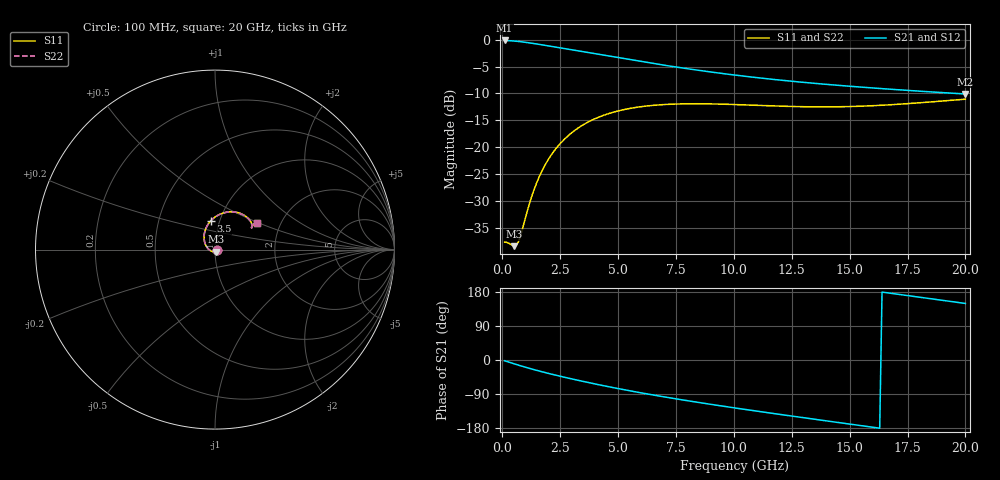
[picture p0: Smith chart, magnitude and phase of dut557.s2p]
! Touchstone file exported from HFSS 2024.1.0
!  File:  C:/UserFiles/LocalFiles/RDL_TSV_Batchsim/temp_RDL_TSV_557_1779751332.aedt
!  Generated:  07:35:12 AM May 26, 2026
!  Design:  RDL_TSV
!  Project:  temp_RDL_TSV_557_1779751332
!  Setup:  Setup1
!  Solution:  Sweep
! Variables:
!  dtsv = 12.82um
!  hbump = 3um
!  htsv = 76.56um
!  ldown = 630.59um
!  lrdl = 275.31um
!  p = 40
!  p1 = 55.86um
!  rhole = 10um
!  subl = 2993.01um
!  t = 450um
!  tdown = 2.93um
!  trdl = 4.99um
!  viad = 10um
!  wdown = 23.24um
!  wrdl = 29.1um
!  xbump = 18um
# GHz S MA R 50.000000
! Terminal data exported
! Port[1] = TM1_1_T1
! Port[2] = TM1_4_T1
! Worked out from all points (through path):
!   200 points, 100 MHz to 20 GHz, reference 50 ohm
!   highest |S21| = -0.12 dB at 100 MHz (marker M1); lowest = -10.1 dB at 20 GHz (marker M2)
!   group delay of S21, straight-line fit = 27.4 ps
!   lowest |S11| = -38.4 dB at 500 MHz (marker M3), VSWR 1.02, Z = 50.5 - j1.1 ohm
!   |S11| at or under -10 dB: start of sweep to end of sweep
!   |S22| runs from -38.4 to -11.1 dB; largest |S21 - S12| = 3.2e-14
!   S11 on the Smith chart (normalised r, x): 100 MHz: 1.03, -0.00; 3.5 GHz: 0.91, +0.30; 20 GHz: 1.52, +0.50
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0.1  0.01306 -9.1  0.9862 -2.0  0.9862 -2.0  0.01306 -9.1
! Gamma 0 0 0 0
! Port Impedance 50 0 50 0
0.5  0.01197 -65.9  0.9744 -9.9  0.9744 -9.9  0.01199 -65.9
0.6  0.01216 -86.5  0.97 -11.7  0.97 -11.7  0.01218 -86.4
0.7  0.0132 -107.6  0.9651 -13.6  0.9651 -13.6  0.01321 -107.5
0.8  0.01524 -127.0  0.9597 -15.5  0.9597 -15.5  0.01524 -126.8
1.1  0.02634 -167.3  0.9414 -20.8  0.9414 -20.8  0.02628 -167.1
1.3  0.03633 175.9  0.9278 -24.3  0.9278 -24.3  0.03623 176.0
1.6  0.05331 157.7  0.9064 -29.2  0.9064 -29.2  0.05316 157.9
1.9  0.07146 144.0  0.8846 -34.0  0.8846 -34.0  0.07125 144.1
2.2  0.08988 132.8  0.8628 -38.5  0.8628 -38.5  0.08961 132.8
2.6  0.1139 120.2  0.8345 -44.3  0.8345 -44.3  0.1135 120.3
3.5  0.1619 98.4  0.7739 -56.7  0.7739 -56.7  0.1614 98.5
4.2  0.1918 85.3  0.7297 -65.7  0.7297 -65.7  0.1911 85.4
4.9  0.2148 74.5  0.688 -74.2  0.688 -74.2  0.214 74.5
5.8  0.2352 63.2  0.6383 -84.6  0.6383 -84.6  0.2343 63.2
6.8  0.248 53.3  0.5889 -95.4  0.5889 -95.4  0.2471 53.3
8.4  0.2538 42.0  0.5227 -111.3  0.5227 -111.3  0.2529 42.0
10.1  0.2493 34.7  0.4678 -127.0  0.4678 -127.0  0.2484 34.7
11.7  0.2423 31.4  0.4279 -141.1  0.4279 -141.1  0.2414 31.4
13.4  0.2376 30.6  0.3946 -155.6  0.3946 -155.6  0.2369 30.7
16.7  0.2478 32.7  0.3472 176.7  0.3472 176.7  0.2473 32.7
20  0.2799 32.6  0.3129 149.2  0.3129 149.2  0.2793 32.6
